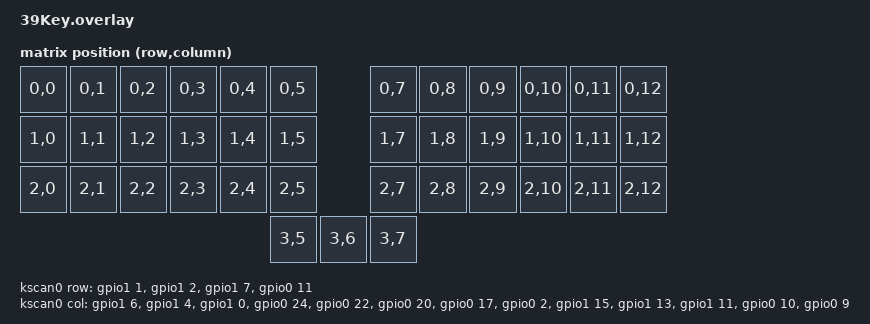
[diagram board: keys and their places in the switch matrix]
#include <dt-bindings/zmk/matrix_transform.h>
#include "39Key.dtsi"

/ {
    chosen {
        zmk,kscan = &kscan0;
        zmk,physical-layout = physical_layout_0;
    };

    kscan0: kscan0 {
        compatible = "zmk,kscan-gpio-matrix";
        diode-direction = "col2row";

        row-gpios = <&gpio1 1 (GPIO_ACTIVE_HIGH | GPIO_PULL_DOWN)>,
                    <&gpio1 2 (GPIO_ACTIVE_HIGH | GPIO_PULL_DOWN)>,
                    <&gpio1 7 (GPIO_ACTIVE_HIGH | GPIO_PULL_DOWN)>,
                    <&gpio0 11 (GPIO_ACTIVE_HIGH | GPIO_PULL_DOWN)>;

        col-gpios = <&gpio1 6 GPIO_ACTIVE_HIGH>,
                    <&gpio1 4 GPIO_ACTIVE_HIGH>,
                    <&gpio1 0 GPIO_ACTIVE_HIGH>,
                    <&gpio0 24 GPIO_ACTIVE_HIGH>,
                    <&gpio0 22 GPIO_ACTIVE_HIGH>,
                    <&gpio0 20 GPIO_ACTIVE_HIGH>,
                    <&gpio0 17 GPIO_ACTIVE_HIGH>,
                    <&gpio0 2 GPIO_ACTIVE_HIGH>,
                    <&gpio1 15 GPIO_ACTIVE_HIGH>,
                    <&gpio1 13 GPIO_ACTIVE_HIGH>,
                    <&gpio1 11 GPIO_ACTIVE_HIGH>,
                    <&gpio0 10 GPIO_ACTIVE_HIGH>,
                    <&gpio0 9 GPIO_ACTIVE_HIGH>;
    };

    default_transform: matrix_transform {
        compatible = "zmk,matrix-transform";
        rows = <4>;
        columns = <13>;

        map = <
            RC(0,0) RC(0,1) RC(0,2) RC(0,3) RC(0,4) RC(0,5)         RC(0,7) RC(0,8) RC(0,9) RC(0,10) RC(0,11) RC(0,12)
            RC(1,0) RC(1,1) RC(1,2) RC(1,3) RC(1,4) RC(1,5)         RC(1,7) RC(1,8) RC(1,9) RC(1,10) RC(1,11) RC(1,12)
            RC(2,0) RC(2,1) RC(2,2) RC(2,3) RC(2,4) RC(2,5)         RC(2,7) RC(2,8) RC(2,9) RC(2,10) RC(2,11) RC(2,12)
                                                    RC(3,5) RC(3,6) RC(3,7) 
		>;
    };
};
